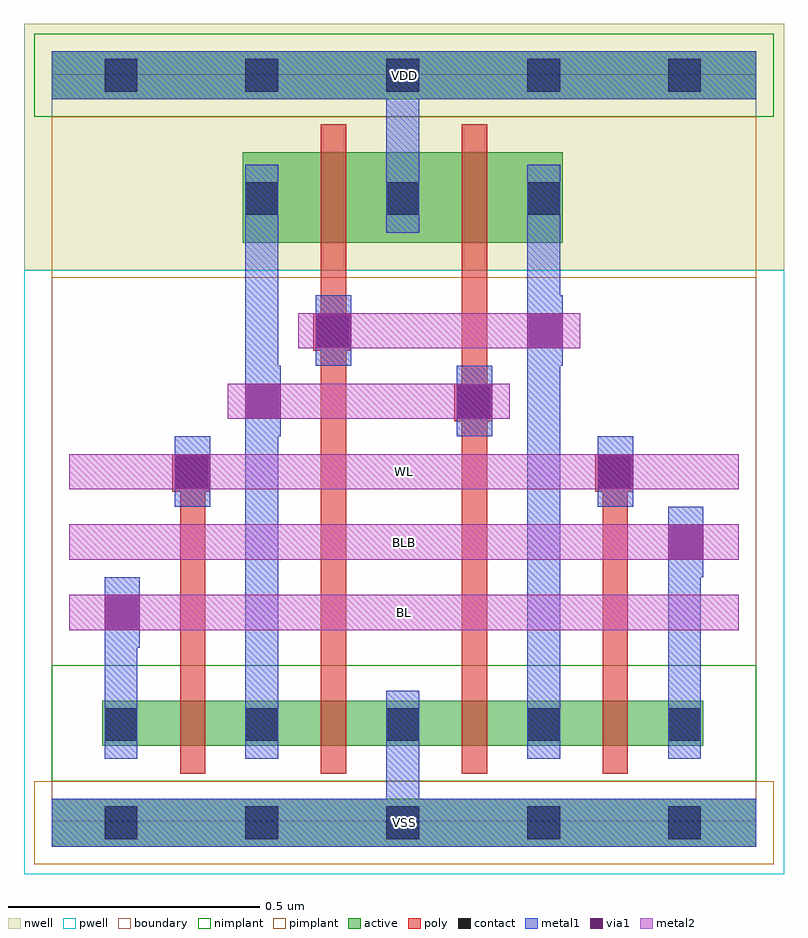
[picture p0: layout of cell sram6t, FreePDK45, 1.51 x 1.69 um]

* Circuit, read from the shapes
.subckt sram6t BL BLB VDD VSS WL
M1 n1 WL BL VSS nfet w=0.09u l=0.05u
M2 VSS n2 n1 VSS nfet w=0.09u l=0.05u
M3 n2 n1 VSS VSS nfet w=0.09u l=0.05u
M4 BLB WL n2 VSS nfet w=0.09u l=0.05u
M5 VDD n2 n1 VDD pfet w=0.18u l=0.05u
M6 n2 n1 VDD VDD pfet w=0.18u l=0.05u
.ends

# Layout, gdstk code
import gdstk
lib = gdstk.Library(unit=1e-6, precision=5e-10)
def R(c, l, rs):  # rectangles x0, y0, x1, y1
    for r in rs: c.add(gdstk.rectangle(r[:2], r[2:], *l))
def A(c, l, x, y, w, h, nx, ny, dx, dy):  # array of equal rectangles
    R(c, l, [(x+i*dx, y+j*dy, x+i*dx+w, y+j*dy+h) for i in range(nx) for j in range(ny)])
active = (1, 0)
pwell = (2, 0)
nwell = (3, 0)
nimplant = (4, 0)
pimplant = (5, 0)
poly = (9, 0)
contact = (10, 0)
metal1 = (11, 0)
via1 = (12, 0)
metal2 = (13, 0)
boundary = (235, 0)

sram6t = lib.new_cell('sram6t')
R(sram6t, active, [(0,-0.05,1.4,0.045), (0.1,0.15,1.295,0.24), (0.38,1.15,1.015,1.33), (0,1.435,1.4,1.53)])
R(sram6t, pwell, [(-0.055,-0.105,1.455,1.095)])
R(sram6t, nwell, [(-0.055,1.095,1.455,1.585)])
R(sram6t, nimplant, [(0,0.08,1.4,0.31), (-0.035,1.4,1.435,1.565)])
R(sram6t, pimplant, [(-0.035,-0.085,1.435,0.08), (0,1.08,1.4,1.4)])
A(sram6t, poly, 0.255, 0.095, 0.05, 0.2, 4, 1, 0.28, 0)
R(sram6t, poly, [(0.255,0.295,0.305,0.695), (0.535,0.295,0.585,1.095), (0.815,0.295,0.865,1.095), (1.095,0.295,1.145,0.695), (0.24,0.655,0.315,0.73), (1.08,0.655,1.155,0.73), (0.8,0.795,0.875,0.87), (0.52,0.935,0.595,1.01), (0.535,1.095,0.585,1.385), (0.815,1.095,0.865,1.385)])
A(sram6t, contact, 0.105, -0.035, 0.065, 0.065, 5, 2, 0.28, 0.195)
A(sram6t, contact, 0.385, 1.205, 0.065, 0.065, 3, 1, 0.28, 0)
A(sram6t, contact, 0.105, 1.45, 0.065, 0.065, 5, 1, 0.28, 0)
R(sram6t, contact, [(0.245,0.66,0.31,0.725), (1.085,0.66,1.15,0.725), (0.805,0.8,0.87,0.865), (0.525,0.94,0.59,1.005)])
A(sram6t, metal1, 0.105, 0.125, 0.065, 0.135, 5, 1, 0.28, 0)
A(sram6t, metal1, 0.385, 1.17, 0.065, 0.135, 3, 1, 0.28, 0)
R(sram6t, metal1, [(0,-0.05,1.4,0.045), (0.665,0,0.73,0.125), (0.105,0.26,0.17,0.415), (0.385,0.26,0.45,0.835), (0.945,0.26,1.01,0.975), (1.225,0.26,1.29,0.555), (0.105,0.345,0.175,0.485), (1.225,0.485,1.295,0.625), (0.245,0.625,0.315,0.765), (1.085,0.625,1.155,0.765), (0.385,0.765,0.455,0.905), (0.385,0.765,0.455,0.905), (0.805,0.765,0.875,0.905), (0.385,0.835,0.45,1.17), (0.525,0.905,0.595,1.045), (0.945,0.905,1.015,1.045), (0.945,0.905,1.015,1.045), (0.945,0.975,1.01,1.17), (0.665,1.305,0.73,1.485), (0,1.435,1.4,1.53)])
R(sram6t, via1, [(0.105,0.38,0.175,0.45), (1.225,0.52,1.295,0.59), (0.245,0.66,0.315,0.73), (1.085,0.66,1.155,0.73), (0.385,0.8,0.455,0.87), (0.385,0.8,0.455,0.87), (0.805,0.8,0.875,0.87), (0.525,0.94,0.595,1.01), (0.945,0.94,1.015,1.01), (0.945,0.94,1.015,1.01)])
A(sram6t, metal2, 0.035, 0.38, 1.33, 0.07, 1, 3, 0, 0.14)
R(sram6t, metal2, [(0.07,0.38,0.21,0.45), (1.19,0.52,1.33,0.59), (0.21,0.66,0.35,0.73), (1.05,0.66,1.19,0.73), (0.35,0.8,0.49,0.87), (0.35,0.8,0.49,0.87), (0.42,0.8,0.84,0.87), (0.77,0.8,0.91,0.87), (0.49,0.94,0.63,1.01), (0.56,0.94,0.98,1.01), (0.91,0.94,1.05,1.01), (0.91,0.94,1.05,1.01)])
R(sram6t, boundary, [(0,0,1.4,1.485)])
sram6t.add(gdstk.Label('VSS', (0.7,-0.003), layer=11, texttype=1))
sram6t.add(gdstk.Label('VDD', (0.7,1.482), layer=11, texttype=1))
sram6t.add(gdstk.Label('BL', (0.7,0.415), layer=13, texttype=1))
sram6t.add(gdstk.Label('BLB', (0.7,0.555), layer=13, texttype=1))
sram6t.add(gdstk.Label('WL', (0.7,0.695), layer=13, texttype=1))

lib.write_gds('sram6t.gds')
